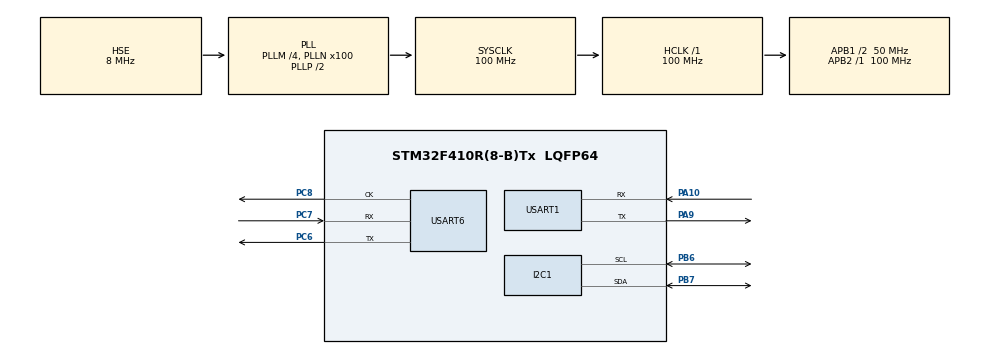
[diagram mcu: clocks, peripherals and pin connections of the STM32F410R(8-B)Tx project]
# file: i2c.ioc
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Mcu.Family=STM32F4
Mcu.Name=STM32F410R(8-B)Tx
Mcu.Package=LQFP64
NVIC.PriorityGroup=NVIC_PRIORITYGROUP_4
PA10.Mode=Asynchronous
PA10.Signal=USART1_RX
PA13.Mode=Serial_Wire
PA13.Signal=SYS_JTMS-SWDIO
PA14.Mode=Serial_Wire
PA14.Signal=SYS_JTCK-SWCLK
PA9.Mode=Asynchronous
PA9.Signal=USART1_TX
PB6.Mode=I2C
PB6.Signal=I2C1_SCL
PB7.Mode=I2C
PB7.Signal=I2C1_SDA
PC6.Mode=Synchronous
PC6.Signal=USART6_TX
PC7.Mode=Synchronous
PC7.Signal=USART6_RX
PC8.Mode=Synchronous
PC8.Signal=USART6_CK
PH0\ -\ OSC_IN.Mode=HSE-External-Clock-Source
PH0\ -\ OSC_IN.Signal=RCC_OSC_IN
PH1\ -\ OSC_OUT.Mode=HSE-External-Clock-Source
PH1\ -\ OSC_OUT.Signal=RCC_OSC_OUT
ProjectManager.HeapSize=0x200
ProjectManager.StackSize=0x400
ProjectManager.TargetToolchain=STM32CubeIDE
RCC.48MHZClocksFreq_Value=50000000
RCC.AHBFreq_Value=100000000
RCC.APB1CLKDivider=RCC_HCLK_DIV2
RCC.APB1Freq_Value=50000000
RCC.APB1TimFreq_Value=100000000
RCC.APB2Freq_Value=100000000
RCC.APB2TimFreq_Value=100000000
RCC.CortexFreq_Value=100000000
RCC.HCLKFreq_Value=100000000
RCC.HSE_VALUE=8000000
RCC.HSI_VALUE=16000000
RCC.LSE_VALUE=32768
RCC.PLLM=4
RCC.PLLN=100
RCC.PLLSourceVirtual=RCC_PLLSOURCE_HSE
RCC.SYSCLKFreq_VALUE=100000000
RCC.SYSCLKSource=RCC_SYSCLKSOURCE_PLLCLK
RCC.VCOOutputFreq_Value=200000000
USART1.VirtualMode=VM_ASYNC
USART6.VirtualMode=VM_SYNC
board=custom

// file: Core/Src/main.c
/* USER CODE BEGIN Header */
/**
  ******************************************************************************
  * @file           : main.c
  * @brief          : Main program body
  ******************************************************************************
  * @attention
  *
  * Copyright (c) 2026 STMicroelectronics.
  * All rights reserved.
  *
  * This software is licensed under terms that can be found in the LICENSE file
  * in the root directory of this software component.
  * If no LICENSE file comes with this software, it is provided AS-IS.
  *
  ******************************************************************************
  */
/* USER CODE END Header */
#include "main.h"
#include "stdio.h"
/* USER CODE BEGIN Includes */
#include "bme280.h"
#include <stdio.h>
#include <string.h>
/* USER CODE END Includes */

I2C_HandleTypeDef hi2c1;

UART_HandleTypeDef huart1;
USART_HandleTypeDef husart6;

/* USER CODE BEGIN PV */
extern I2C_HandleTypeDef hi2c1;
struct bme280_dev dev;
struct bme280_data comp_data;
int8_t rslt = BME280_OK;
float temperature, pressure, humidity;
/* USER CODE END PV */

void SystemClock_Config(void);
static void MX_GPIO_Init(void);
static void MX_I2C1_Init(void);
static void MX_USART1_UART_Init(void);
static void MX_USART6_Init(void);
/* USER CODE BEGIN PFP */
int8_t user_i2c_read(uint8_t reg_addr, uint8_t *reg_data, uint32_t len, void *intf_ptr);
int8_t user_i2c_write(uint8_t reg_addr, const uint8_t *reg_data, uint32_t len, void *intf_ptr);
void user_delay_us(uint32_t period, void *intf_ptr);
/* USER CODE END PFP */

/* USER CODE BEGIN 0 */
void esp_send(const char *s)
{
  HAL_UART_Transmit(&huart1, (uint8_t *)s, strlen(s), 1000);
}
void http_task(void)
{
  char rx[600] = {0};
  char json[200];
  char response[350];
  char cmd[40];
  HAL_UART_Receive(&huart1, (uint8_t *)rx, sizeof(rx) - 1, 500);
  char *p = strstr(rx, "+IPD,");
  if (p == NULL || strstr(rx, "GET /") == NULL) return;
  if (bme280_get_sensor_data(BME280_ALL, &comp_data, &dev) != BME280_OK) return;
  temperature = comp_data.temperature;
  pressure = comp_data.pressure / 100.0f;
  humidity = comp_data.humidity;
  int json_len = snprintf(json, sizeof(json), "{\"status\":\"success\",\"temperature\":%.2f,\"humidity\":%.2f,\"pressure\":%.2f}", temperature, humidity, pressure);
  int response_len = snprintf(response, sizeof(response), "HTTP/1.1 200 OK\r\nContent-Type: application/json\r\nContent-Length: %d\r\nConnection: close\r\n\r\n%s", json_len, json);
  char link_id = p[5];
  snprintf(cmd, sizeof(cmd), "AT+CIPSEND=%c,%d\r\n", link_id, response_len);
  esp_send(cmd);
  HAL_Delay(300);
  HAL_UART_Transmit(&huart1, (uint8_t *)response, response_len, 1000);
  HAL_Delay(300);
  snprintf(cmd, sizeof(cmd), "AT+CIPCLOSE=%c\r\n", link_id);
  esp_send(cmd);
}
/* USER CODE END 0 */

int main(void)
{

  /* MCU Configuration--------------------------------------------------------*/

  /* Reset of all peripherals, Initializes the Flash interface and the Systick. */
  HAL_Init();

  /* Configure the system clock */
  SystemClock_Config();

  /* Initialize all configured peripherals */
  MX_GPIO_Init();
  MX_I2C1_Init();
  MX_USART1_UART_Init();
  MX_USART6_Init();
  /* USER CODE BEGIN 2 */
  static uint8_t dev_addr = BME280_I2C_ADDR_PRIM;
  dev.intf_ptr = &dev_addr;
  dev.intf = BME280_I2C_INTF;
  dev.read = user_i2c_read;
  dev.write = user_i2c_write;
  dev.delay_us = user_delay_us;
  rslt = bme280_init(&dev);
  struct bme280_settings settings = {0};
  settings.osr_h = BME280_OVERSAMPLING_1X;
  settings.osr_p = BME280_OVERSAMPLING_1X;
  settings.osr_t = BME280_OVERSAMPLING_1X;
  settings.filter = BME280_FILTER_COEFF_OFF;
  rslt = bme280_set_sensor_settings(BME280_SEL_OSR_PRESS | BME280_SEL_OSR_TEMP | BME280_SEL_OSR_HUM | BME280_SEL_FILTER, &settings, &dev);
  rslt = bme280_set_sensor_mode(BME280_POWERMODE_NORMAL, &dev);
  HAL_UART_Transmit(&huart1, (uint8_t *)"AT\r\n", 4, 1000); HAL_Delay(1000);
  HAL_UART_Transmit(&huart1, (uint8_t *)"AT+CWMODE=1\r\n", 13, 1000); HAL_Delay(1000);
  HAL_UART_Transmit(&huart1, (uint8_t *)"AT+CWJAP=\"SNUC\",\"snu12345\"\r\n", 28, 1000); HAL_Delay(10000);
  HAL_UART_Transmit(&huart1, (uint8_t *)"AT+CIFSR\r\n", 10, 1000); HAL_Delay(1000);
  HAL_UART_Transmit(&huart1, (uint8_t *)"AT+CIPMUX=1\r\n", 13, 1000); HAL_Delay(1000);
  HAL_UART_Transmit(&huart1, (uint8_t *)"AT+CIPSERVER=1,80\r\n", 19, 1000); HAL_Delay(1000);
/* USER CODE END 2 */

  /* Infinite loop */
  while (1)
  {
    http_task();
  }
}

void SystemClock_Config(void)
{
  RCC_OscInitTypeDef RCC_OscInitStruct = {0};
  RCC_ClkInitTypeDef RCC_ClkInitStruct = {0};

  /** Configure the main internal regulator output voltage
  */
  __HAL_RCC_PWR_CLK_ENABLE();
  __HAL_PWR_VOLTAGESCALING_CONFIG(PWR_REGULATOR_VOLTAGE_SCALE1);

  /** Initializes the RCC Oscillators according to the specified parameters
  * in the RCC_OscInitTypeDef structure.
  */
  RCC_OscInitStruct.OscillatorType = RCC_OSCILLATORTYPE_HSE;
  RCC_OscInitStruct.HSEState = RCC_HSE_BYPASS;
  RCC_OscInitStruct.PLL.PLLState = RCC_PLL_ON;
  RCC_OscInitStruct.PLL.PLLSource = RCC_PLLSOURCE_HSE;
  RCC_OscInitStruct.PLL.PLLM = 4;
  RCC_OscInitStruct.PLL.PLLN = 100;
  RCC_OscInitStruct.PLL.PLLP = RCC_PLLP_DIV2;
  RCC_OscInitStruct.PLL.PLLQ = 4;
  RCC_OscInitStruct.PLL.PLLR = 2;
  if (HAL_RCC_OscConfig(&RCC_OscInitStruct) != HAL_OK)
  {
    Error_Handler();
  }

  /** Initializes the CPU, AHB and APB buses clocks
  */
  RCC_ClkInitStruct.ClockType = RCC_CLOCKTYPE_HCLK|RCC_CLOCKTYPE_SYSCLK
                              |RCC_CLOCKTYPE_PCLK1|RCC_CLOCKTYPE_PCLK2;
  RCC_ClkInitStruct.SYSCLKSource = RCC_SYSCLKSOURCE_PLLCLK;
  RCC_ClkInitStruct.AHBCLKDivider = RCC_SYSCLK_DIV1;
  RCC_ClkInitStruct.APB1CLKDivider = RCC_HCLK_DIV2;
  RCC_ClkInitStruct.APB2CLKDivider = RCC_HCLK_DIV1;

  if (HAL_RCC_ClockConfig(&RCC_ClkInitStruct, FLASH_LATENCY_3) != HAL_OK)
  {
    Error_Handler();
  }
}

static void MX_I2C1_Init(void)
{

  hi2c1.Instance = I2C1;
  hi2c1.Init.ClockSpeed = 100000;
  hi2c1.Init.DutyCycle = I2C_DUTYCYCLE_2;
  hi2c1.Init.OwnAddress1 = 0;
  hi2c1.Init.AddressingMode = I2C_ADDRESSINGMODE_7BIT;
  hi2c1.Init.DualAddressMode = I2C_DUALADDRESS_DISABLE;
  hi2c1.Init.OwnAddress2 = 0;
  hi2c1.Init.GeneralCallMode = I2C_GENERALCALL_DISABLE;
  hi2c1.Init.NoStretchMode = I2C_NOSTRETCH_DISABLE;
  if (HAL_I2C_Init(&hi2c1) != HAL_OK)
  {
    Error_Handler();
  }

}

static void MX_USART1_UART_Init(void)
{

  huart1.Instance = USART1;
  huart1.Init.BaudRate = 115200;
  huart1.Init.WordLength = UART_WORDLENGTH_8B;
  huart1.Init.StopBits = UART_STOPBITS_1;
  huart1.Init.Parity = UART_PARITY_NONE;
  huart1.Init.Mode = UART_MODE_TX_RX;
  huart1.Init.HwFlowCtl = UART_HWCONTROL_NONE;
  huart1.Init.OverSampling = UART_OVERSAMPLING_16;
  if (HAL_UART_Init(&huart1) != HAL_OK)
  {
    Error_Handler();
  }

}

static void MX_USART6_Init(void)
{

  husart6.Instance = USART6;
  husart6.Init.BaudRate = 115200;
  husart6.Init.WordLength = USART_WORDLENGTH_8B;
  husart6.Init.StopBits = USART_STOPBITS_1;
  husart6.Init.Parity = USART_PARITY_NONE;
  husart6.Init.Mode = USART_MODE_TX_RX;
  husart6.Init.CLKPolarity = USART_POLARITY_LOW;
  husart6.Init.CLKPhase = USART_PHASE_1EDGE;
  husart6.Init.CLKLastBit = USART_LASTBIT_DISABLE;
  if (HAL_USART_Init(&husart6) != HAL_OK)
  {
    Error_Handler();
  }

}

static void MX_GPIO_Init(void)
{

  /* GPIO Ports Clock Enable */
  __HAL_RCC_GPIOH_CLK_ENABLE();
  __HAL_RCC_GPIOC_CLK_ENABLE();
  __HAL_RCC_GPIOA_CLK_ENABLE();
  __HAL_RCC_GPIOB_CLK_ENABLE();

}

/* USER CODE BEGIN 4 */
int8_t user_i2c_read(uint8_t reg_addr, uint8_t *reg_data, uint32_t len, void *intf_ptr)
{
  uint8_t dev_addr = *(uint8_t *)intf_ptr;
  if (HAL_I2C_Mem_Read(&hi2c1, (dev_addr << 1), reg_addr, I2C_MEMADD_SIZE_8BIT, reg_data, len, HAL_MAX_DELAY) == HAL_OK)
    return BME280_OK;
  return BME280_E_COMM_FAIL;
}
int8_t user_i2c_write(uint8_t reg_addr, const uint8_t *reg_data, uint32_t len, void *intf_ptr)
{
  uint8_t dev_addr = *(uint8_t *)intf_ptr;
  if (HAL_I2C_Mem_Write(&hi2c1, (dev_addr << 1), reg_addr, I2C_MEMADD_SIZE_8BIT, (uint8_t *)reg_data, len, HAL_MAX_DELAY) == HAL_OK)
    return BME280_OK;
  return BME280_E_COMM_FAIL;
}
void user_delay_us(uint32_t period, void *intf_ptr)
{
  HAL_Delay((period / 1000) + 1);
}
/* USER CODE END 4 */

void Error_Handler(void)
{
  __disable_irq();
  while (1)
  {
  }
}
